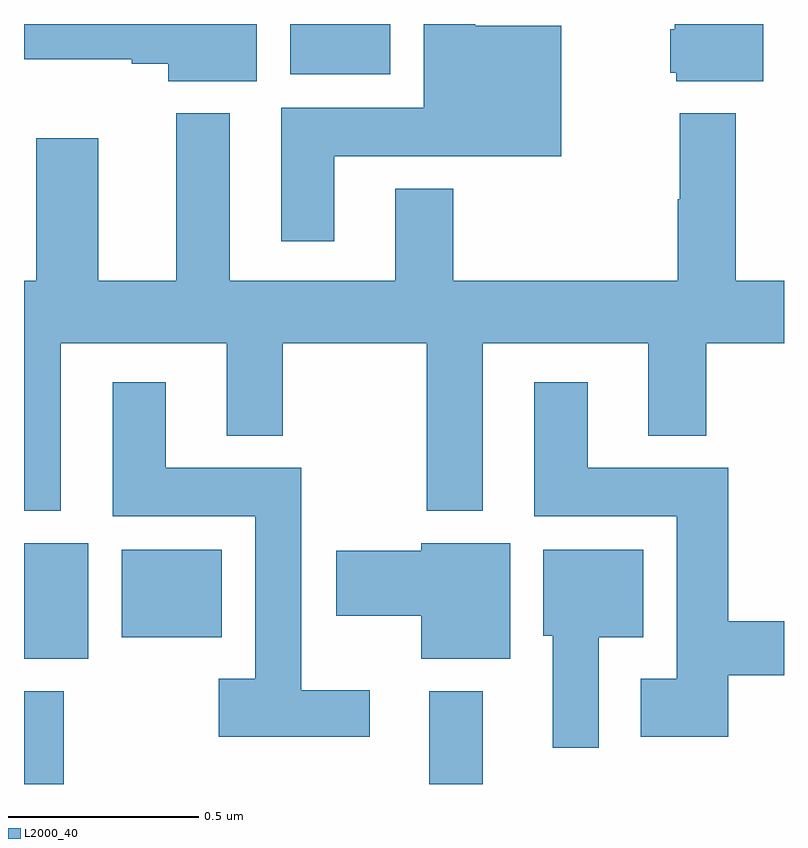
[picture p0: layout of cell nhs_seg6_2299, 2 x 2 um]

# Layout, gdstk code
import gdstk
lib = gdstk.Library(unit=1e-6, precision=1e-09)
def R(c, l, rs):  # rectangles x0, y0, x1, y1
    for r in rs: c.add(gdstk.rectangle(r[:2], r[2:], *l))
def P(c, l, *ps):  # polygons
    for p in ps: c.add(gdstk.Polygon(p, *l))
L2000_40 = (2000, 40)

nhs_seg6_2299 = lib.new_cell('nhs_seg6_2299')
R(nhs_seg6_2299, L2000_40, [(141,955.5,141.105,955.744), (142.067,955.5,142.207,955.744), (141,955.829,141.169,956.134), (141.257,955.886,141.52,956.116), (141.701,957.368,141.964,957.5)])
P(nhs_seg6_2299, L2000_40, [(141.817,957.152),(142.414,957.152),(142.414,957.496),(142.187,957.496),(142.187,957.5),(142.052,957.5),(142.052,957.28),(141.677,957.28),(141.677,956.928),(141.817,956.928)],
  [(141.613,957.5),(141,957.5),(141,957.407),(141.284,957.407),(141.284,957.395),(141.38,957.395),(141.38,957.35),(141.613,957.35)],
  [(142.945,957.5),(142.712,957.5),(142.712,957.486),(142.7,957.486),(142.7,957.372),(142.716,957.372),(142.716,957.35),(142.945,957.35)],
  [(141.097,956.66),(141.533,956.66),(141.533,956.417),(141.681,956.417),(141.681,956.66),(142.06,956.66),(142.06,956.219),(142.207,956.219),(142.207,956.66),(142.643,956.66),(142.643,956.417),(142.796,956.417),(142.796,956.66),(143,956.66),(143,956.824),(142.873,956.824),(142.873,957.265),(142.726,957.265),(142.726,957.039),(142.721,957.039),(142.721,956.824),(142.13,956.824),(142.13,957.067),(141.977,957.067),(141.977,956.824),(141.541,956.824),(141.541,957.265),(141.401,957.265),(141.401,956.824),(141.196,956.824),(141.196,957.199),(141.032,957.199),(141.032,956.824),(141,956.824),(141,956.219),(141.097,956.219)],
  [(142.853,955.786),(143,955.786),(143,955.928),(142.853,955.928),(142.853,956.332),(142.483,956.332),(142.483,956.557),(142.343,956.557),(142.343,956.204),(142.718,956.204),(142.718,955.777),(142.623,955.777),(142.623,955.625),(142.853,955.625)],
  [(141.91,955.747),(141.73,955.747),(141.73,956.332),(141.373,956.332),(141.373,956.557),(141.233,956.557),(141.233,956.204),(141.608,956.204),(141.608,955.777),(141.513,955.777),(141.513,955.625),(141.91,955.625)],
  [(142.279,956.134),(142.046,956.134),(142.046,956.114),(141.822,956.114),(141.822,955.943),(142.046,955.943),(142.046,955.829),(142.279,955.829)],
  [(142.513,955.886),(142.63,955.886),(142.63,956.116),(142.367,956.116),(142.367,955.89),(142.391,955.89),(142.391,955.596),(142.513,955.596)])

lib.write_gds('nhs_seg6_2299.gds')
